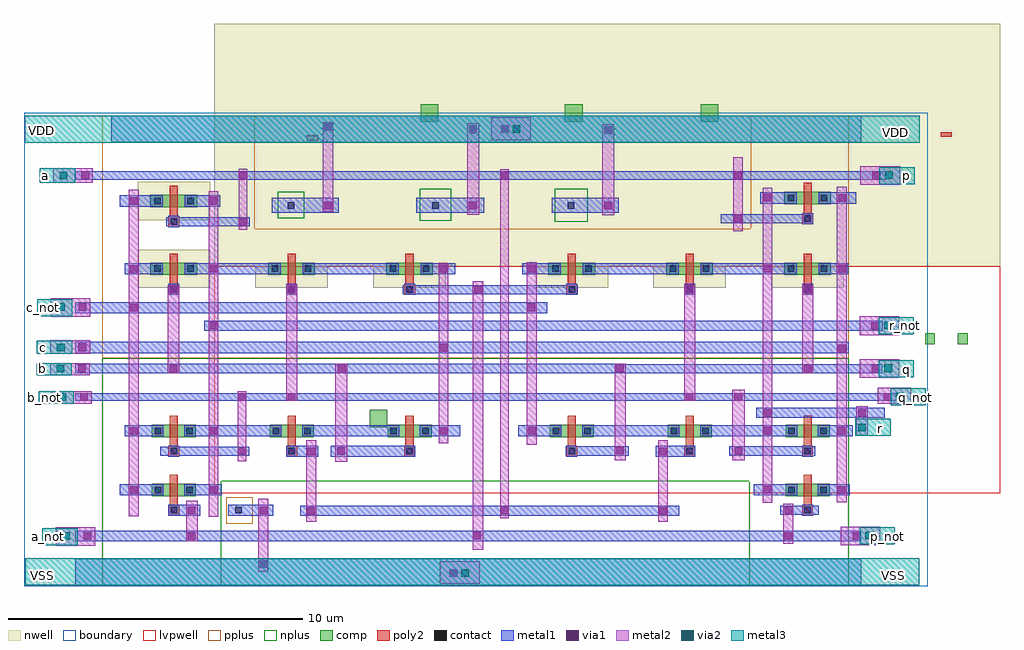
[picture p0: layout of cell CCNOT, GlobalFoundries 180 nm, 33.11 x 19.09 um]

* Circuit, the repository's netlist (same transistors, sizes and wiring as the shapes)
** sch_path: /foss/designs/final_project/standard_cells/CCNOT/CCNOT.sch
.subckt CCNOT vdd vss b_not a_not b a r r_not q_not p_not q p c_not c
*.PININFO vdd:B vss:B b_not:B a_not:B b:B a:B r:B r_not:B q_not:B p_not:B q:B p:B c_not:B c:B
M1 c_not a_not net2 vdd pfet_03v3 L=0.28u W=0.42u nf=1 m=1
M2 net2 b_not r vdd pfet_03v3 L=0.28u W=0.42u nf=1 m=1
M3 c_not b net1 vss nfet_03v3 L=0.28u W=0.42u nf=1 m=1
M4 net1 a r vss nfet_03v3 L=0.28u W=0.42u nf=1 m=1
M5 r b_not c vss nfet_03v3 L=0.28u W=0.42u nf=1 m=1
M6 r a_not c vss nfet_03v3 L=0.28u W=0.42u nf=1 m=1
M7 r b c vdd pfet_03v3 L=0.28u W=0.42u nf=1 m=1
M8 r a c vdd pfet_03v3 L=0.28u W=0.42u nf=1 m=1
M9 c a_not net4 vdd pfet_03v3 L=0.28u W=0.42u nf=1 m=1
M10 net4 b_not r_not vdd pfet_03v3 L=0.28u W=0.42u nf=1 m=1
M11 c b net3 vss nfet_03v3 L=0.28u W=0.42u nf=1 m=1
M12 net3 a r_not vss nfet_03v3 L=0.28u W=0.42u nf=1 m=1
M13 r_not b_not c_not vss nfet_03v3 L=0.28u W=0.42u nf=1 m=1
M14 r_not a_not c_not vss nfet_03v3 L=0.28u W=0.42u nf=1 m=1
M15 r_not b c_not vdd pfet_03v3 L=0.28u W=0.42u nf=1 m=1
M16 r_not a c_not vdd pfet_03v3 L=0.28u W=0.42u nf=1 m=1
.ends

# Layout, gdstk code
from math import pi, radians
import gdstk
lib = gdstk.Library(unit=1e-6, precision=5e-09)
def R(c, l, rs):  # rectangles x0, y0, x1, y1
    for r in rs: c.add(gdstk.rectangle(r[:2], r[2:], *l))
def P(c, l, *ps):  # polygons
    for p in ps: c.add(gdstk.Polygon(p, *l))
boundary = (0, 0)
nwell = (21, 0)
comp = (22, 0)
poly2 = (30, 0)
pplus = (31, 0)
nplus = (32, 0)
contact = (33, 0)
metal1 = (34, 0)
via1 = (35, 0)
metal2 = (36, 0)
via2 = (38, 0)
metal3 = (42, 0)
lvpwell = (204, 0)

nfet_1 = lib.new_cell('nfet$1')
R(nfet_1, comp, [(-0.42,0,0,0.42), (0,0,0.66,0.42), (0.66,0,1.08,0.42)])
R(nfet_1, poly2, [(0.19,-0.3,0.47,0.72), (0.15,0.72,0.51,1.08)])
R(nfet_1, nplus, [(-0.59,-0.24,1.25,0.66)])
R(nfet_1, contact, [(-0.32,0.1,-0.1,0.32), (0.76,0.1,0.98,0.32), (0.22,0.79,0.44,1.01)])
R(nfet_1, metal1, [(-0.4,0.02,-0.02,0.4), (0.68,0.02,1.06,0.4), (0.14,0.71,0.52,1.09)])

pfet = lib.new_cell('pfet')
R(pfet, nwell, [(-0.9,-0.44,1.56,0.86)])
R(pfet, comp, [(-0.46,0,0,0.42), (0,0,0.66,0.42), (0.66,0,1.12,0.42)])
R(pfet, poly2, [(0.19,-0.3,0.47,0.72), (0.14,0.72,0.52,1.1)])
R(pfet, pplus, [(-0.63,-0.24,1.29,0.66)])
R(pfet, contact, [(-0.34,0.1,-0.12,0.32), (0.78,0.1,1,0.32), (0.22,0.8,0.44,1.02)])
R(pfet, metal1, [(-0.42,0.02,-0.04,0.4), (0.7,0.02,1.08,0.4), (0.14,0.72,0.52,1.1)])

ccnot = lib.new_cell('CCNOT')
R(ccnot, boundary, [(0,0,30.65,16.07)])
R(ccnot, nwell, [(6.45,10.865,33.105,19.09)])
R(ccnot, comp, [(11.72,5.395,12.32,5.995), (11.72,5.395,12.32,5.995), (30.565,8.21,30.885,8.59), (31.675,8.21,32.005,8.59), (18.35,15.755,18.95,16.355), (13.455,15.76,14.055,16.36), (22.95,15.76,23.55,16.36)])
R(ccnot, poly2, [(9.595,15.115,9.975,15.31), (31.095,15.255,31.475,15.41)])
R(ccnot, pplus, [(6.86,2.125,7.76,3.025)])
P(ccnot, pplus, [(2.65,7.74),(2.65,15.965),(7.835,15.965),(7.835,12.125),(24.655,12.125),(24.655,15.965),(27.98,15.965),(27.98,7.74)])
R(ccnot, nplus, [(18.005,12.365,19.125,13.485), (13.415,12.4,14.495,13.49), (8.605,12.485,9.51,13.385)])
P(ccnot, nplus, [(2.65,0.04),(2.65,7.74),(27.98,7.74),(27.98,0.04),(24.6,0.04),(24.6,3.575),(6.685,3.575),(6.685,0.04)])
R(ccnot, contact, [(7.17,2.485,7.39,2.705), (7.17,2.485,7.39,2.705), (8.95,12.81,9.17,13.03), (13.855,12.81,14.075,13.03), (18.445,12.81,18.665,13.03)])
R(ccnot, metal1, [(1.745,0.04,28.4,0.94), (1.745,1.535,28.4,1.885), (5.27,2.395,5.98,2.775), (9.375,2.4,22.225,2.735), (6.935,2.405,8.455,2.765), (6.935,2.405,8.455,2.765), (25.655,2.43,26.965,2.73), (3.24,3.085,4.35,3.465), (5.81,3.085,6.715,3.465), (24.745,3.085,25.85,3.465), (27.31,3.085,28.005,3.465), (9.27,4.395,9.98,4.775), (21.435,4.395,22.39,4.775), (10.41,4.405,13.275,4.77), (4.625,4.43,7.635,4.74), (18.375,4.43,20.52,4.75), (23.925,4.435,26.835,4.755), (3.425,5.085,4.35,5.465), (5.81,5.085,8.35,5.465), (9.805,5.085,12.465,5.465), (13.8,5.085,14.79,5.465), (16.765,5.085,18.23,5.465), (18.93,5.085,22.23,5.465), (23.305,5.085,25.85,5.465), (27.305,5.085,28.11,5.465), (24.835,5.725,29.2,6.06), (1.745,6.29,29.58,6.56), (1.745,7.905,27.975,8.295), (6.115,8.67,29.125,9.01), (1.745,9.26,17.755,9.635), (12.84,9.905,18.775,10.22), (3.415,10.585,4.33,10.965), (5.8,10.585,8.33,10.965), (9.83,10.585,12.375,10.965), (13.45,10.585,14.635,10.965), (16.9,10.585,17.83,10.965), (19.32,10.585,21.89,10.965), (23.285,10.585,25.83,10.965), (25.86,10.585,26.175,10.965), (26.97,10.585,27.3,10.965), (27.33,10.585,27.965,10.965), (4.82,12.22,7.655,12.525), (23.635,12.32,26.77,12.63), (8.405,12.67,10.68,13.18), (13.305,12.67,15.605,13.18), (17.9,12.67,20.18,13.18), (3.255,12.885,4.33,13.265), (5.78,12.885,6.65,13.265), (24.975,12.985,25.83,13.365), (25.86,12.985,26.175,13.325), (26.97,12.985,27.3,13.33), (27.33,12.985,28.23,13.365), (1.745,13.795,29.255,14.08), (2.965,15.065,28.4,15.965)])
P(ccnot, metal1, [(1.745,7.23),(1.745,7.55),(20.415,7.55),(20.415,7.54),(29.11,7.54),(29.11,7.23)])
R(ccnot, via1, [(14.44,0.325,14.7,0.585), (7.99,0.63,8.25,0.89), (28.105,1.58,28.365,1.84), (2.025,1.585,2.285,1.845), (5.55,1.585,5.81,1.845), (25.795,1.585,26.055,1.845), (15.24,1.6,15.5,1.86), (9.61,2.43,9.87,2.69), (21.545,2.43,21.805,2.69), (16.175,2.44,16.435,2.7), (5.55,2.45,5.81,2.71), (7.995,2.45,8.255,2.71), (7.995,2.45,8.255,2.71), (25.805,2.45,26.065,2.71), (3.61,3.14,3.87,3.4), (6.305,3.14,6.565,3.4), (27.6,3.14,27.86,3.4), (25.08,3.155,25.34,3.415), (9.615,4.445,9.875,4.705), (21.55,4.445,21.81,4.705), (10.62,4.46,10.88,4.72), (24.105,4.46,24.365,4.72), (7.255,4.465,7.515,4.725), (20.085,4.475,20.345,4.735), (3.61,5.14,3.87,5.4), (14.1,5.14,14.36,5.4), (6.29,5.145,6.55,5.405), (17.105,5.15,17.365,5.41), (25.09,5.15,25.35,5.41), (27.6,5.15,27.86,5.41), (25.1,5.755,25.36,6.015), (28.29,5.755,28.55,6.015), (1.905,6.295,2.165,6.555), (7.265,6.295,7.525,6.555), (24.095,6.295,24.355,6.555), (29.155,6.295,29.415,6.555), (8.94,6.3,9.2,6.56), (22.44,6.3,22.7,6.56), (10.65,7.25,10.91,7.51), (28.75,7.25,29.01,7.51), (26.455,7.255,26.715,7.515), (4.945,7.26,5.205,7.52), (20.075,7.26,20.335,7.52), (1.835,7.265,2.095,7.525), (27.61,7.93,27.87,8.19), (14.09,7.965,14.35,8.225), (1.845,7.98,2.105,8.24), (28.745,8.705,29.005,8.965), (6.315,8.715,6.575,8.975), (3.59,9.33,3.85,9.59), (17.075,9.34,17.335,9.6), (1.855,9.35,2.115,9.61), (15.28,9.935,15.54,10.195), (4.95,9.94,5.21,10.2), (8.945,9.94,9.205,10.2), (26.455,9.945,26.715,10.205), (22.445,9.95,22.705,10.21), (3.595,10.635,3.855,10.895), (14.1,10.645,14.36,10.905), (17.09,10.645,17.35,10.905), (27.615,10.645,27.875,10.905), (6.31,10.65,6.57,10.91), (25.085,10.65,25.345,10.91), (7.31,12.235,7.57,12.495), (24.09,12.345,24.35,12.605), (10.19,12.795,10.45,13.055), (15.09,12.795,15.35,13.055), (19.685,12.795,19.945,13.055), (3.59,12.945,3.85,13.205), (6.305,12.95,6.565,13.21), (27.615,13.05,27.875,13.31), (25.085,13.06,25.345,13.32), (28.775,13.8,29.035,14.06), (24.09,13.805,24.35,14.065), (7.3,13.81,7.56,14.07), (16.175,13.81,16.435,14.07), (1.945,13.815,2.205,14.075), (19.685,15.35,19.945,15.61), (15.105,15.375,15.365,15.635), (16.18,15.38,16.44,15.64), (10.185,15.455,10.445,15.715)])
P(ccnot, via1, [(9.105,3.72),(9.105,3.72),(9.105,3.72),(9.105,3.72)])
R(ccnot, metal2, [(14.11,0.085,15.455,0.855), (7.945,0.505,8.29,2.965), (15.215,1.245,15.585,10.345), (1.075,1.375,2.42,2.005), (27.7,1.4,29.045,2.03), (25.76,1.45,26.095,2.8), (5.505,1.535,5.885,2.91), (9.58,2.185,9.905,4.95), (21.515,2.185,21.84,4.95), (16.16,2.31,16.45,14.145), (6.275,2.355,6.59,13.405), (3.545,2.375,3.9,13.46), (25.06,2.84,25.375,13.525), (27.57,2.855,27.9,13.55), (10.565,4.22,10.97,7.55), (7.255,4.245,7.535,6.615), (20.035,4.275,20.415,7.55), (24.03,4.28,24.445,6.67), (17.055,4.805,17.385,11), (28.225,5.135,28.62,6.115), (28.965,6.19,30.095,6.745), (0.955,6.2,2.3,6.625), (8.89,6.29,9.26,10.255), (22.4,6.29,22.76,10.23), (28.345,7.07,29.69,7.7), (0.885,7.17,2.23,7.575), (4.87,7.23,5.26,10.22), (26.39,7.23,26.77,10.24), (0.895,7.885,2.24,8.345), (28.34,8.525,29.685,9.155), (0.905,9.14,2.25,9.77), (24.065,12.04,24.375,14.555), (7.29,12.1,7.58,14.16), (19.61,12.585,20.02,15.68), (15.03,12.61,15.44,15.705), (10.13,12.7,10.49,15.75), (28.37,13.62,29.715,14.25), (0.995,13.695,2.34,14.18), (15.85,15.14,17.195,15.91)])
P(ccnot, metal2, [(14.07,4.85),(14.07,10.98),(14.38,10.98),(14.38,10.95),(14.385,10.95),(14.385,4.85)])
R(ccnot, via2, [(14.835,0.33,15.095,0.59), (1.295,1.58,1.555,1.84), (28.54,1.6,28.8,1.86), (28.29,5.265,28.55,5.525), (1.175,6.29,1.435,6.55), (29.59,6.315,29.85,6.575), (1.105,7.26,1.365,7.52), (29.185,7.27,29.445,7.53), (1.115,7.975,1.375,8.235), (29.18,8.725,29.44,8.985), (1.125,9.345,1.385,9.605), (1.215,13.81,1.475,14.07), (29.21,13.82,29.47,14.08), (16.575,15.385,16.835,15.645)])
R(ccnot, metal3, [(0.045,0.045,30.36,0.95), (0.62,1.4,1.815,1.975), (28.345,1.425,29.54,2), (28.2,5.115,29.395,5.69), (29.395,6.14,30.59,6.715), (0.5,6.2,1.695,6.625), (28.99,7.095,30.185,7.67), (0.43,7.17,1.625,7.575), (0.44,7.885,1.635,8.34), (28.985,8.55,30.18,9.125), (0.45,9.165,1.645,9.74), (29.015,13.645,30.21,14.22), (0.54,13.695,1.735,14.175), (0.03,15.055,30.38,15.96)])
R(ccnot, lvpwell, [(6.45,3.165,33.105,10.865)])
ccnot.add(gdstk.Reference(nfet_1, (5.41,5.485), rotation=pi))
ccnot.add(gdstk.Reference(nfet_1, (26.91,3.485), rotation=pi))
ccnot.add(gdstk.Reference(nfet_1, (13.41,5.485), rotation=pi))
ccnot.add(gdstk.Reference(nfet_1, (22.91,5.485), rotation=pi))
ccnot.add(gdstk.Reference(nfet_1, (9.41,5.485), rotation=pi))
ccnot.add(gdstk.Reference(nfet_1, (26.91,5.485), rotation=pi))
ccnot.add(gdstk.Reference(nfet_1, (18.91,5.485), rotation=pi))
ccnot.add(gdstk.Reference(pfet, (5.41,13.285), rotation=pi))
ccnot.add(gdstk.Reference(pfet, (26.91,13.385), rotation=pi))
ccnot.add(gdstk.Reference(pfet, (26.91,10.985), rotation=pi))
ccnot.add(gdstk.Reference(pfet, (22.91,10.985), rotation=pi))
ccnot.add(gdstk.Reference(pfet, (18.91,10.985), rotation=pi))
ccnot.add(gdstk.Reference(pfet, (13.41,10.985), rotation=pi))
ccnot.add(gdstk.Reference(pfet, (9.41,10.985), rotation=pi))
ccnot.add(gdstk.Reference(pfet, (5.41,10.985), rotation=pi))
ccnot.add(gdstk.Reference(nfet_1, (5.41,3.485), rotation=pi))
ccnot.add(gdstk.Label('VDD', (0.605,15.45), layer=42, texttype=10))
ccnot.add(gdstk.Label('VSS', (0.635,0.385), layer=42, texttype=10))
ccnot.add(gdstk.Label('VDD', (29.565,15.4), layer=42, texttype=10))
ccnot.add(gdstk.Label('VSS', (29.49,0.365), layer=42, texttype=10))
ccnot.add(gdstk.Label('p_not', (29.29,1.695), layer=42, texttype=10))
ccnot.add(gdstk.Label('q', (29.935,7.365), layer=42, texttype=10))
ccnot.add(gdstk.Label('q_not', (30.255,6.41), layer=42, texttype=10))
ccnot.add(gdstk.Label('r_not', (29.91,8.835), layer=42, texttype=10))
ccnot.add(gdstk.Label('r', (29.06,5.37), layer=42, texttype=10))
ccnot.add(gdstk.Label('p', (29.94,13.93), layer=42, texttype=10))
ccnot.add(gdstk.Label('a_not', (0.825,1.695), layer=42, texttype=10))
ccnot.add(gdstk.Label('c', (0.645,8.09), layer=42, texttype=10))
ccnot.add(gdstk.Label('c_not', (0.655,9.46), layer=42, texttype=10))
ccnot.add(gdstk.Label('a', (0.745,13.925), layer=42, texttype=10))
ccnot.add(gdstk.Label('b', (0.635,7.375), layer=42, texttype=10))
ccnot.add(gdstk.Label('b_not', (0.705,6.405), layer=42, texttype=10))

lib.write_gds('CCNOT.gds')
